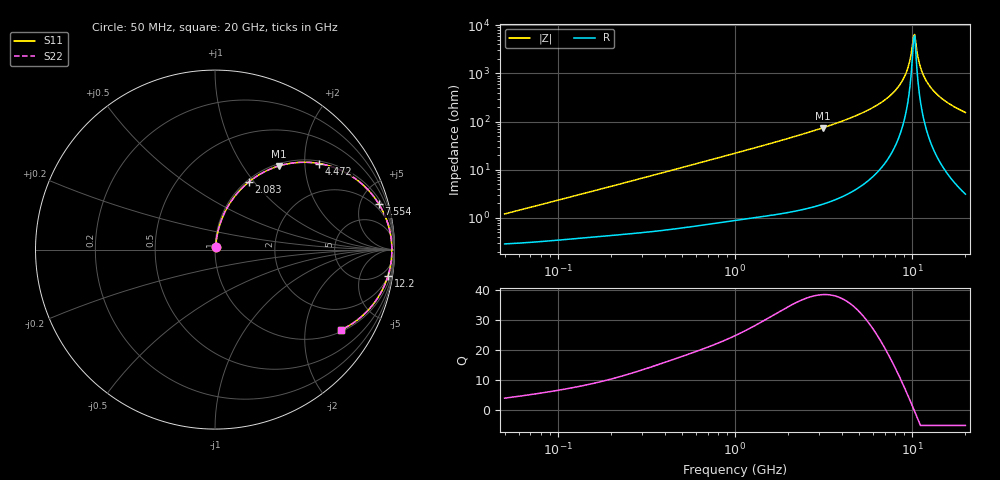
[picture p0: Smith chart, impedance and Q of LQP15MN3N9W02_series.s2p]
!Murata Part Number: LQP15MN3N9W02
!These Parameters are Measured in Series Mode Connection
!  o--[Z]--o
!Port1  Port2
!  o-------o
!Freq. Start=50[MHz] Stop=20[GHz], 401[Steps]
# Hz S RI R 50
!Freq.(Hz) S11(Real) S11(Imag) S21(Real) S21(Imag) S12(Real) S12(Imag) S22(Real) S22(Imag)
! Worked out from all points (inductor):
!   401 points, 50 MHz to 20 GHz, reference 50 ohm
!   read as one part in series: L = 3.73 nH near 51.52 MHz
!   highest Q = 38.5 at 3.122 GHz (marker M1), where L = 3.77 nH
!   self-resonance near 10.19 GHz
!   S11 on the Smith chart (normalised r, x): 50 MHz: 1.01, +0.02; 2.083 GHz: 1.03, +0.94; 4.472 GHz: 1.07, +2.37; 7.554 GHz: 1.41, +7.03; 12.2 GHz: 2, -13; 20 GHz: 1.06, -3.09
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5e7  0.00302 0.0117  0.997 -0.0117  0.997 -0.0117  0.00302 0.0117
1.364002e8  0.00477 0.0309  0.9952 -0.0309  0.9952 -0.0309  0.00477 0.0309
3.721004e8  0.0121 0.0814  0.9879 -0.0814  0.9879 -0.0814  0.0121 0.0814
1e9  0.0538 0.2064  0.9462 -0.2064  0.9462 -0.2064  0.0538 0.2064
2.083303e9  0.1872 0.3761  0.8128 -0.3761  0.8128 -0.3761  0.1872 0.3761
2.728004e9  0.2906 0.4411  0.7094 -0.4411  0.7094 -0.4411  0.2906 0.4411
3.121702e9  0.3576 0.4665  0.6424 -0.4665  0.6424 -0.4665  0.3576 0.4665
4.472136e9  0.5821 0.4793  0.4179 -0.4793  0.4179 -0.4793  0.5821 0.4793
5.944466e9  0.7779 0.3979  0.2221 -0.3979  0.2221 -0.3979  0.7779 0.3979
7.442007e9  0.9058 0.2655  0.0942 -0.2655  0.0942 -0.2655  0.9058 0.2655
7.554318e9  0.9127 0.2548  0.0873 -0.2548  0.0873 -0.2548  0.9127 0.2548
8.516016e9  0.9572 0.162  0.0428 -0.162  0.0428 -0.162  0.9572 0.162
9.178299e9  0.9749 0.0993  0.0251 -0.0993  0.0251 -0.0993  0.9749 0.0993
9.600142e9  0.9815 0.0605  0.0185 -0.0605  0.0185 -0.0605  0.9815 0.0605
1.004137e10  0.985 0.0212  0.015 -0.0212  0.015 -0.0212  0.985 0.0212
1.019291e10  0.9854 0.00808  0.0146 -0.00808  0.0146 -0.00808  0.9854 0.00808
1.050288e10  0.9853 -0.0182  0.0147 0.0182  0.0147 0.0182  0.9853 -0.0182
1.115139e10  0.9808 -0.0706  0.0192 0.0706  0.0192 0.0706  0.9808 -0.0706
1.220001e10  0.9636 -0.1473  0.0364 0.1473  0.0364 0.1473  0.9636 -0.1473
1.334722e10  0.9348 -0.2197  0.0652 0.2197  0.0652 0.2197  0.9348 -0.2197
1.482269e10  0.888 -0.296  0.112 0.296  0.112 0.296  0.888 -0.296
2e10  0.7012 -0.4477  0.2988 0.4477  0.2988 0.4477  0.7012 -0.4477
